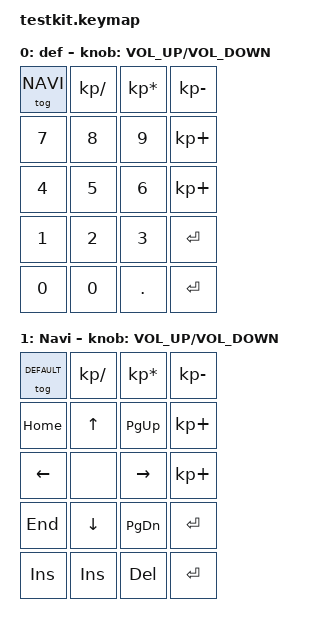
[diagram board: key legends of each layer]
#include <behaviors.dtsi>
#include <dt-bindings/zmk/keys.h>
#include <dt-bindings/zmk/bt.h>
#include <dt-bindings/zmk/outputs.h>

#define DEFAULT 0
#define NAVI    1

#define NONE 0

&encoder_1 {
    status = "okay";
};

/ {
    sensors {
        compatible = "zmk,keymap-sensors";
        sensors = <&encoder_1>;
        triggers-per-rotation = <30>;
    };

    keymap {
        compatible = "zmk,keymap";

        default_layer {
            label = "def";
            bindings = <
                &tog NAVI       &kp KP_DIVIDE   &kp KP_MULTIPLY &kp KP_MINUS
                &kp NUMBER_7    &kp NUMBER_8    &kp NUMBER_9    &kp KP_PLUS
                &kp NUMBER_4    &kp NUMBER_5    &kp NUMBER_6    &kp KP_PLUS
                &kp NUMBER_1    &kp NUMBER_2    &kp NUMBER_3    &kp RETURN
                &kp NUMBER_0    &kp NUMBER_0    &kp DOT         &kp RETURN
            >;

            sensor-bindings = <&inc_dec_kp C_VOLUME_UP C_VOLUME_DOWN>;
        };

         navi_layer {
            label = "Navi";
             bindings = <
                &tog DEFAULT    &kp KP_DIVIDE   &kp KP_MULTIPLY &kp KP_MINUS
                &kp HOME        &kp UP          &kp PAGE_UP     &kp KP_PLUS
                &kp LEFT        &none           &kp RIGHT       &kp KP_PLUS
                &kp END         &kp DOWN        &kp PAGE_DOWN   &kp RETURN
                &kp INSERT      &kp INSERT      &kp DEL         &kp RETURN
            >;

            sensor-bindings = <&inc_dec_kp C_VOLUME_UP C_VOLUME_DOWN>;
         };
    };
};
